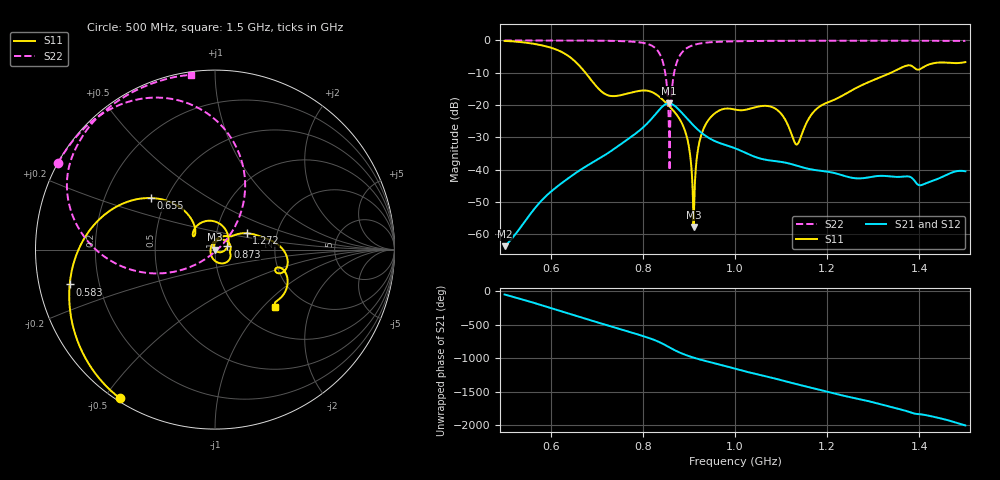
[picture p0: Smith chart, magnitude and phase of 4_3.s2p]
! TOUCHSTONE file generated by CST MICROWAVE STUDIO
! Date and time: Fri Oct  2 16:40:33 2020
! Project name: Scenario_1_Free_Space_out_of_line.cst
! Parameters = {Lambda=346.42; Step_1=17.321; dy1=295.617; dx1=520; L_HA=400; MT=2.54; Rad_Dielectric=30; Rad_Lower=7.3; Rad_Upper=30; a_HA=580; a_WG=246; b_HA=500; b_WG=121; c_HA=0; c_WG=187; d_feed=85; h_feed=15; h_lower=18; h_upper=40}
! Header version: 2018
! Port assignment regex: !\s*Touchstone port\s*([0-9]+)\s*=\s*(CST MWS port|CST DS port)\s*([0-9]+|Zmin|Zmax)\s*\(\"(.*)\"\)(\s*mode\s*([0-9]+))?.*
! Touchstone port assignment:
! Touchstone port 1 = CST MWS port 1 ("")
! Touchstone port 2 = CST MWS port 2 ("")
# GHz S DB R 50
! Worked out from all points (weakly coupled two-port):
!   1003 points, 500 MHz to 1.5 GHz, reference 50 ohm
!   highest |S21| = -19.46 dB at 856 MHz (marker M1); lowest = -63.6 dB at 500 MHz (marker M2)
!   lowest |S11| = -57.7 dB at 910 MHz (marker M3), VSWR 1.00, Z = 49.9 - j0.101 ohm
!   |S11| at or under -10 dB: 675.5 MHz to 1.338 GHz (662.9 MHz wide, 65.8 % of centre)
!   |S22| runs from -40.1 to 0.0 dB; largest |S21 - S12| = 6.3e-05
!   S11 on the Smith chart (normalised r, x): 500 MHz: 0.01, -0.55; 583 MHz: 0.09, -0.12; 655 MHz: 0.41, +0.30; 873 MHz: 1.15, +0.04; 1.272 GHz: 1.40, +0.26; 1.5 GHz: 1.43, -1.17
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0.5  -0.15 -122.6  -63.62 -47.2  -63.62 -47.2  -0.01 151.1
0.583  -1.59 -166.5  -49.10 147.7  -49.08 147.5  -0.02 145.4
0.655  -6.76 141.3  -40.92 -4.7  -40.92 -4.6  -0.04 139.5
0.667  -8.56 133.9  -39.79 -30.3  -39.79 -30.3  -0.04 138.3
0.721  -16.79 139.2  -35.14 -141.7  -35.15 -141.6  -0.10 132.1
0.779  -15.98 138.9  -29.36 98.7  -29.36 98.6  -0.39 120.6
0.834  -17.22 71.9  -21.71 -32.0  -21.71 -32.0  -3.53 84.9
0.847  -18.86 52.9  -19.92 -76.0  -19.92 -76.0  -8.78 62.7
0.856  -20.14 40.1  -19.46 -110.0  -19.46 -110.0  -23.66 38.1
0.861  -20.88 32.8  -19.57 -129.0  -19.57 -129.0  -19.45 -139.6
0.873  -22.90 14.4  -20.69 -171.6  -20.69 -171.6  -7.05 -164.0
0.896  -30.16 -28.8  -24.18 122.7  -24.19 122.7  -2.33 171.5
0.91  -57.68 -129.5  -26.31 90.7  -26.31 90.7  -1.42 163.0
0.922  -31.94 102.4  -27.93 66.4  -27.93 66.4  -0.99 157.6
0.936  -26.06 75.9  -29.49 40.5  -29.49 40.5  -0.70 152.8
1  -21.38 -1.8  -33.34 -74.2  -33.34 -74.2  -0.27 140.3
1.086  -20.96 -58.6  -37.29 139.5  -37.29 139.5  -0.13 130.9
1.134  -32.19 170.5  -38.73 53.8  -38.73 53.8  -0.11 126.8
1.167  -22.73 69.6  -39.92 -1.2  -39.92 -1.2  -0.10 124.2
1.272  -14.05 27.3  -42.66 -172.6  -42.66 -172.6  -0.08 116.2
1.334  -10.29 10.6  -42.02 80.5  -42.02 80.5  -0.09 111.5
1.5  -6.70 -44.0  -40.46 157.5  -40.47 157.5  -0.14 97.9
